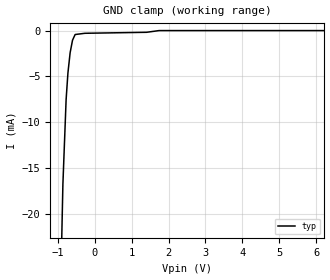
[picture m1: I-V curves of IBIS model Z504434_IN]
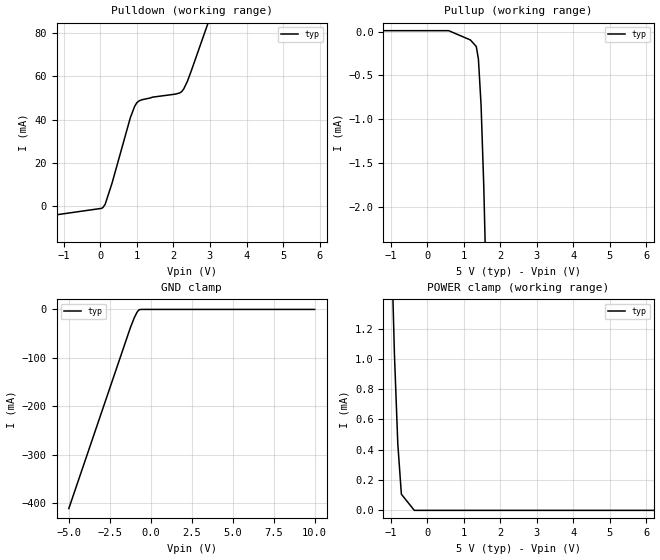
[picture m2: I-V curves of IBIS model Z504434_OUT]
| YOU ARE ONLY AUTHORIZED TO USE THIS SOFTWARE
| ACCORDING TO LICENSOR'S LICENSE RESTRICTIONS.
[IBIS Ver] 3.1
[File Name] sn54ls283j.ibs
[File Rev] 2.0
[Source] Measured and created by ICX Technology
[Date] Friday 7/14/00 9:08:14 AM
[Copyright]
| (C) COPYRIGHT 1993-2000
| MENTOR GRAPHICS CORPORATION
| ICX STANDARD LIBRARY, ICX PROJECT MODELING,
| ICX CUSTOM MODELING, ICX VENDOR MODEL
| ALL RIGHTS RESERVED.
| THE FOLLOWING ARE TRADEMARKS OR SERVICE MARKS OF
| MENTOR GRAPHICS CORPORATION:ICX (R), ICX STANDARD
| LIBRARY(R), ICX PROJECT MODELING(R), ICX CUSTOM
| MODELING(R), qualityIBIS(TM), MODELVIEWER(TM),
| AND MODELEDITOR(TM)
| ALL COPIES OF SOFTWARE, INCLUDING BUT NOT LIMITED TO
| ANY MODIFICATIONS, ENHANCEMENTS OR DERIVATIVE WORKS,
| MUST CONTAIN ALL MENTOR GRAPHICS CORPORATION'S
| NOTICES AND LEGENDS, INCLUDING THOSE EMBEDDED IN
| SOFTWARE AND THOSE AFFIXED TO SOFTWARE MEDIUM
| AND CONTAINER, AS RECEIVED FROM MENTOR GRAPHICS
| CORPORATION.
|  ZAP Model Builder 2.7
[Component] SN54LS283J
[Manufacturer] OnSemiconductor
[Package]
| variable   typ   min   max
R_pkg  .212ohms NA NA
L_pkg  4.758nH NA NA
C_pkg  1.944pF NA NA
[Pin] signal_name  model_name  R_pin  L_pin C_pin
1 SUM1 Z504434_OUT .224 7.258n 2.683p
2 B1 Z504434_IN .216 5.258n 2.19p
3 A1 Z504434_IN .208 3.758n 1.697p
4 SUM0 Z504434_OUT .2 2.758n 1.204p
5 A0 Z504434_IN .2 2.758n 1.204p
6 B0 Z504434_IN .208 3.758n 1.697p
7 C0 Z504434_IN .216 5.258n 2.19p
8 GND GND .224 7.258n 2.683p
9 C4 Z504434_OUT .224 7.258n 2.683p
10 SUM3 Z504434_OUT .216 5.258n 2.19p
11 B3 Z504434_IN .208 3.758n 1.697p
12 A3 Z504434_IN .2 2.758n 1.204p
13 SUM2 Z504434_OUT .2 2.758n 1.204p
14 A2 Z504434_IN .208 3.758n 1.697p
15 B2 Z504434_IN .216 5.258n 2.19p
16 VCC POWER .224 7.258n 2.683p
| Models and submodels in the file (2): Z504434_IN (Input), Z504434_OUT (Output)
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| (C) COPYRIGHT 1993-2000
| MENTOR GRAPHICS CORPORATION
| ICX STANDARD LIBRARY, ICX PROJECT MODELING,
| ICX CUSTOM MODELING, ICX VENDOR MODEL
| ALL RIGHTS RESERVED.
| THE FOLLOWING ARE TRADEMARKS OR SERVICE MARKS OF
| MENTOR GRAPHICS CORPORATION:ICX (R), ICX STANDARD
| LIBRARY(R), ICX PROJECT MODELING(R), ICX CUSTOM
| MODELING(R), qualityIBIS(TM), MODELVIEWER(TM),
| AND MODELEDITOR(TM)
| ALL COPIES OF SOFTWARE, INCLUDING BUT NOT LIMITED TO
| ANY MODIFICATIONS, ENHANCEMENTS OR DERIVATIVE WORKS,
| MUST CONTAIN ALL MENTOR GRAPHICS CORPORATION'S
| NOTICES AND LEGENDS, INCLUDING THOSE EMBEDDED IN
| SOFTWARE AND THOSE AFFIXED TO SOFTWARE MEDIUM
| AND CONTAINER, AS RECEIVED FROM MENTOR GRAPHICS
| CORPORATION.
| Model Application Version 1.89 2/18/99.
[Model] Z504434_IN
Model_type Input
Vinl = 800.0mV
Vinh = 2.000V
C_comp 4.000pF NA NA
| variable typ   min   max
[Voltage Range] 5.000V NA NA
[GND Clamp Reference] 0.000V NA NA
[POWER Clamp Reference] 5.000V NA NA
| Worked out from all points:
|   GND clamp passes 1 mA (typ) near -0.59 V on its own axis
[GND Clamp]
-5V       -795.1mA   NA         NA
-858.6mV  -16.73mA   NA         NA
-771.5mV  -7.518mA   NA         NA
-722.6mV  -4.621mA   NA         NA
-662.6mV  -2.406mA   NA         NA
-597.9mV  -1.049mA   NA         NA
-527.3mV  -433.8uA   NA         NA
-263.7mV  -299.8uA   NA         NA
1.409V    -191.1uA   NA         NA
1.743V    -5.223uA   NA         NA
10V       -5.223uA   NA         NA
[POWER Clamp]
-5V       0A         NA         NA
10V       0A         NA         NA
| (C) COPYRIGHT 1993-2000
| MENTOR GRAPHICS CORPORATION
| ICX STANDARD LIBRARY, ICX PROJECT MODELING,
| ICX CUSTOM MODELING, ICX VENDOR MODEL
| ALL RIGHTS RESERVED.
| THE FOLLOWING ARE TRADEMARKS OR SERVICE MARKS OF
| MENTOR GRAPHICS CORPORATION:ICX (R), ICX STANDARD
| LIBRARY(R), ICX PROJECT MODELING(R), ICX CUSTOM
| MODELING(R), qualityIBIS(TM), MODELVIEWER(TM),
| AND MODELEDITOR(TM)
| ALL COPIES OF SOFTWARE, INCLUDING BUT NOT LIMITED TO
| ANY MODIFICATIONS, ENHANCEMENTS OR DERIVATIVE WORKS,
| MUST CONTAIN ALL MENTOR GRAPHICS CORPORATION'S
| NOTICES AND LEGENDS, INCLUDING THOSE EMBEDDED IN
| SOFTWARE AND THOSE AFFIXED TO SOFTWARE MEDIUM
| AND CONTAINER, AS RECEIVED FROM MENTOR GRAPHICS
| CORPORATION.
| Model Application Version 1.89 2/18/99.
[Model] Z504434_OUT
Model_type Output
Vref=5.000V
Rref=2.000kohms
Cref=15.00pF
Vmeas=1.300V
C_comp 8.000pF NA NA
| variable typ   min   max
[Voltage Range] 5.000V NA NA
[POWER Clamp Reference] 5.000V NA NA
[Pullup Reference] 5.000V NA NA
[Pulldown Reference] 0.000V NA NA
[GND Clamp Reference] 0.000V NA NA
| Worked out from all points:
|   slope of the pulldown table from 0 to 0.75 V, typ, clamps not added: 19.9 ohm
|   slope of the pullup table from 0 to 0.75 V, typ, clamps not added: 25.7 kohm
|   GND clamp passes 1 mA (typ) near -0.72 V on its own axis
|   POWER clamp passes 1 mA (typ) near -0.89 V on its own axis
[GND Clamp]
-5V       -410.9mA   NA         NA
-1.24V    -37.44mA   NA         NA
-1.006V   -17.32mA   NA         NA
-837.7mV  -5.867mA   NA         NA
-726.3mV  -1.055mA   NA         NA
-605.3mV  0A         NA         NA
10V       0A         NA         NA
[Pulldown]
-5V       -13.04mA   NA         NA
68.4mV    -600.7uA   NA         NA
131.4mV   898.5uA    NA         NA
319.4mV   10.65mA    NA         NA
820.5mV   40.86mA    NA         NA
937.5mV   46.07mA    NA         NA
996.1mV   47.72mA    NA         NA
1.431V    50.34mA    NA         NA
2.168V    52.25mA    NA         NA
2.285V    54.21mA    NA         NA
2.493V    62.67mA    NA         NA
10V       423.3mA    NA         NA
[Pullup]
-5V       9.679uA    NA         NA
586mV     9.679uA    NA         NA
1.182V    -96.44uA   NA         NA
1.343V    -171.2uA   NA         NA
1.401V    -314.8uA   NA         NA
1.474V    -842.9uA   NA         NA
1.548V    -1.771mA   NA         NA
10V       -147.6mA   NA         NA
[POWER Clamp]
-5V       44.73mA    NA         NA
-1.01V    2.034mA    NA         NA
-898mV    1.03mA     NA         NA
-806mV    440uA      NA         NA
-708mV    106.7uA    NA         NA
-354mV    0A         NA         NA
10V       0A         NA         NA
[Ramp]
| variable typ min max
dV/dt_r 1.859/8.955n NA NA
dV/dt_f 1.859/1.745n NA NA
R_load = 500.0Ohms
